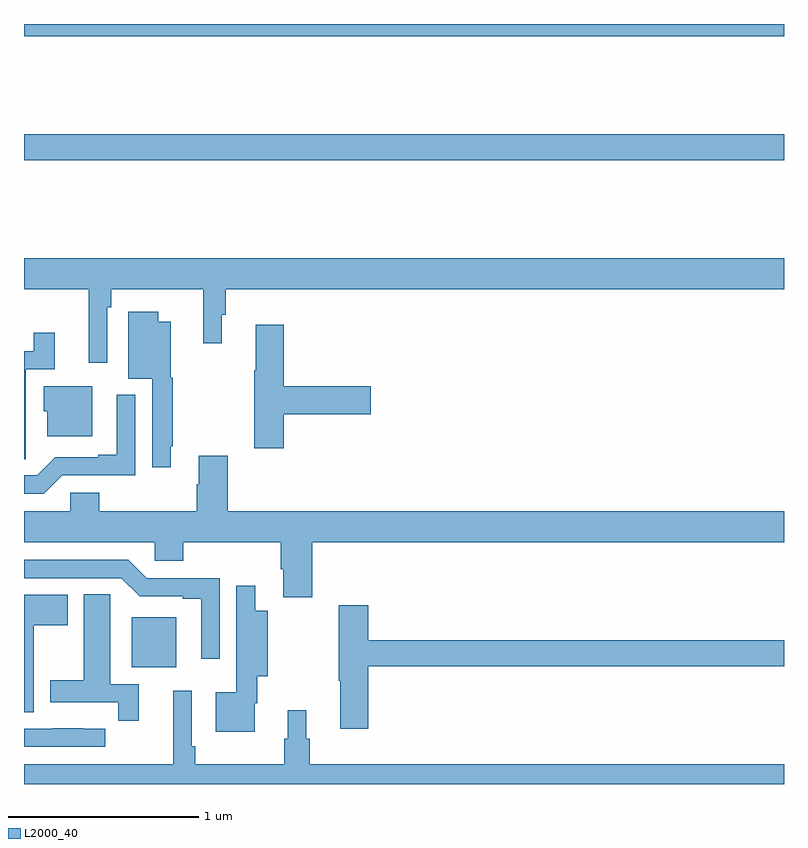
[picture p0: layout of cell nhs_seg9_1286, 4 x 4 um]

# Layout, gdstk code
import gdstk
lib = gdstk.Library(unit=1e-6, precision=1e-09)
def R(c, l, rs):  # rectangles x0, y0, x1, y1
    for r in rs: c.add(gdstk.rectangle(r[:2], r[2:], *l))
def P(c, l, *ps):  # polygons
    for p in ps: c.add(gdstk.Polygon(p, *l))
L2000_40 = (2000, 40)

nhs_seg9_1286 = lib.new_cell('nhs_seg9_1286')
R(nhs_seg9_1286, L2000_40, [(183.566,1177.115,183.802,1177.378), (183,1179.784,187,1179.92), (183,1180.436,187,1180.5)])
P(nhs_seg9_1286, L2000_40, [(183.438,1179.008),(183.458,1179.008),(183.458,1179.104),(183.943,1179.104),(183.943,1178.82),(184.042,1178.82),(184.042,1178.97),(184.061,1178.97),(184.061,1179.104),(187,1179.104),(187,1179.268),(183,1179.268),(183,1179.104),(183.341,1179.104),(183.341,1178.718),(183.438,1178.718)],
  [(183.772,1178.278),(183.784,1178.278),(183.784,1178.637),(183.772,1178.637),(183.772,1178.932),(183.706,1178.932),(183.706,1178.986),(183.548,1178.986),(183.548,1178.633),(183.675,1178.633),(183.675,1178.166),(183.772,1178.166)],
  [(184.367,1178.447),(184.825,1178.447),(184.825,1178.594),(184.367,1178.594),(184.367,1178.917),(184.22,1178.917),(184.22,1178.677),(184.213,1178.677),(184.213,1178.268),(184.367,1178.268)],
  [(183.009,1178.32),(183.01,1178.32),(183.01,1178.682),(183.161,1178.682),(183.161,1178.875),(183.052,1178.875),(183.052,1178.778),(183,1178.778),(183,1178.209),(183.009,1178.209)],
  [(183.358,1178.593),(183.104,1178.593),(183.104,1178.463),(183.122,1178.463),(183.122,1178.33),(183.358,1178.33)],
  [(183.201,1178.124),(183.585,1178.124),(183.585,1178.548),(183.488,1178.548),(183.488,1178.233),(183.392,1178.233),(183.392,1178.22),(183.165,1178.22),(183.069,1178.124),(183,1178.124),(183,1178.028),(183.105,1178.028)],
  [(184.517,1177.772),(187,1177.772),(187,1177.936),(184.073,1177.936),(184.073,1178.227),(183.92,1178.227),(183.92,1178.078),(183.908,1178.078),(183.908,1177.936),(183.395,1177.936),(183.395,1178.034),(183.243,1178.034),(183.243,1177.936),(183,1177.936),(183,1177.772),(183.687,1177.772),(183.687,1177.674),(183.839,1177.674),(183.839,1177.772),(184.352,1177.772),(184.352,1177.63),(184.364,1177.63),(184.364,1177.482),(184.517,1177.482)],
  [(184.029,1177.584),(183.645,1177.584),(183.549,1177.68),(183,1177.68),(183,1177.584),(183.513,1177.584),(183.609,1177.488),(183.836,1177.488),(183.836,1177.476),(183.932,1177.476),(183.932,1177.158),(184.029,1177.158)],
  [(184.215,1176.926),(184.228,1176.926),(184.228,1177.067),(184.284,1177.067),(184.284,1177.411),(184.216,1177.411),(184.216,1177.543),(184.118,1177.543),(184.118,1177.307),(184.117,1177.307),(184.117,1176.982),(184.01,1176.982),(184.01,1176.776),(184.215,1176.776)],
  [(183.605,1177.026),(183.454,1177.026),(183.454,1177.388),(183.453,1177.388),(183.453,1177.499),(183.314,1177.499),(183.314,1177.047),(183.137,1177.047),(183.137,1176.93),(183.496,1176.93),(183.496,1176.834),(183.605,1176.834)],
  [(183.052,1177.336),(183.229,1177.336),(183.229,1177.495),(183,1177.495),(183,1176.877),(183.052,1176.877)],
  [(184.811,1177.12),(187,1177.12),(187,1177.256),(184.811,1177.256),(184.811,1177.441),(184.657,1177.441),(184.657,1177.043),(184.664,1177.043),(184.664,1176.792),(184.811,1176.792)],
  [(187,1176.604),(184.505,1176.604),(184.505,1176.738),(184.486,1176.738),(184.486,1176.889),(184.388,1176.889),(184.388,1176.738),(184.369,1176.738),(184.369,1176.604),(183.902,1176.604),(183.902,1176.7),(183.882,1176.7),(183.882,1176.991),(183.785,1176.991),(183.785,1176.604),(183,1176.604),(183,1176.5),(187,1176.5)],
  [(183.427,1176.792),(183.314,1176.792),(183.314,1176.793),(183.148,1176.793),(183.148,1176.792),(183,1176.792),(183,1176.696),(183.427,1176.696)])

lib.write_gds('nhs_seg9_1286.gds')
